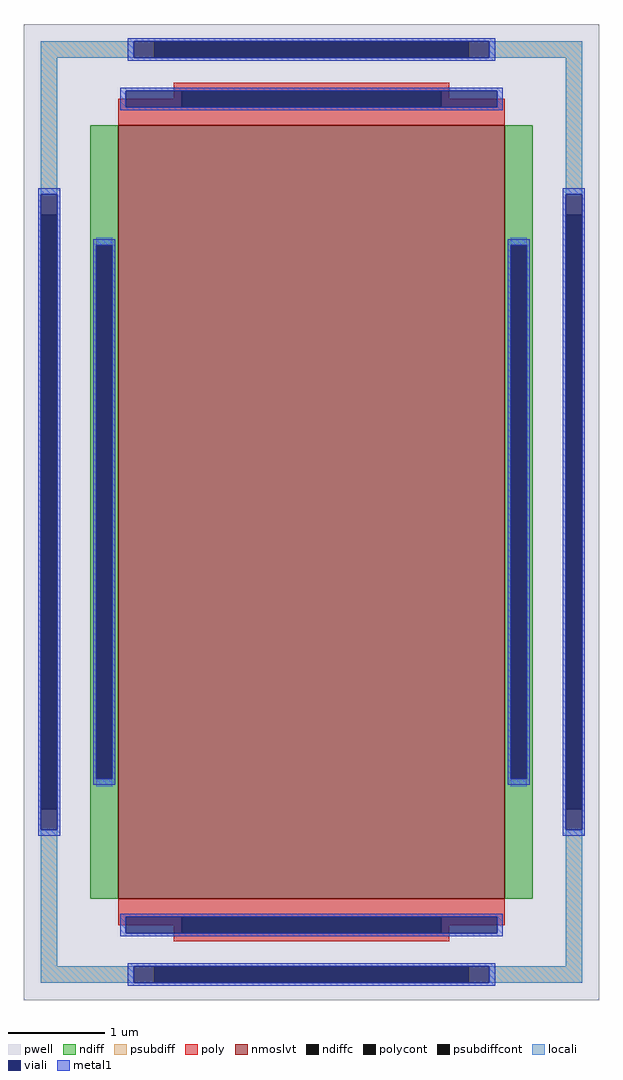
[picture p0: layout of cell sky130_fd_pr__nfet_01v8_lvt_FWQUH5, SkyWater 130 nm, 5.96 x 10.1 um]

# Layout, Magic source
magic
tech sky130A
magscale 1 2
<< pwell >>
rect -596 -1010 596 1010
<< nmoslvt >>
rect -400 -800 400 800
<< ndiff >>
rect -458 552 -400 800
rect -458 -552 -446 552
rect -412 -552 -400 552
rect -458 -800 -400 -552
rect 400 552 458 800
rect 400 -552 412 552
rect 446 -552 458 552
rect 400 -800 458 -552
<< ndiffc >>
rect -446 -552 -412 552
rect 412 -552 446 552
<< psubdiff >>
rect -560 940 -325 974
rect 325 940 560 974
rect -560 615 -526 940
rect -560 -940 -526 -615
rect 526 615 560 940
rect 526 -940 560 -615
rect -560 -974 -325 -940
rect 325 -974 560 -940
<< psubdiffcont >>
rect -325 940 325 974
rect -560 -615 -526 615
rect 526 -615 560 615
rect -325 -974 325 -940
<< poly >>
rect -285 872 285 888
rect -285 855 -269 872
rect -400 838 -269 855
rect 269 855 285 872
rect 269 838 400 855
rect -400 800 400 838
rect -400 -838 400 -800
rect -400 -855 -269 -838
rect -285 -872 -269 -855
rect 269 -855 400 -838
rect 269 -872 285 -855
rect -285 -888 285 -872
<< polycont >>
rect -269 838 269 872
rect -269 -872 269 -838
<< locali >>
rect -560 940 -368 974
rect 368 940 560 974
rect -560 658 -526 940
rect 526 658 560 940
rect -446 552 -412 568
rect -446 -568 -412 -552
rect 412 552 446 568
rect 412 -568 446 -552
rect -560 -940 -526 -658
rect 526 -940 560 -658
rect -560 -974 -368 -940
rect 368 -974 560 -940
<< viali >>
rect -368 940 -325 974
rect -325 940 325 974
rect 325 940 368 974
rect -384 838 -269 872
rect -269 838 269 872
rect 269 838 384 872
rect -560 615 -526 658
rect -560 -615 -526 615
rect 526 615 560 658
rect -446 -552 -412 552
rect 412 -552 446 552
rect -560 -658 -526 -615
rect 526 -615 560 615
rect 526 -658 560 -615
rect -384 -872 -269 -838
rect -269 -872 269 -838
rect 269 -872 384 -838
rect -368 -974 -325 -940
rect -325 -974 325 -940
rect 325 -974 368 -940
<< metal1 >>
rect -380 974 380 980
rect -380 940 -368 974
rect 368 940 380 974
rect -380 934 380 940
rect -396 872 396 878
rect -396 838 -384 872
rect 384 838 396 872
rect -396 832 396 838
rect -566 658 -520 670
rect -566 -658 -560 658
rect -526 -658 -520 658
rect 520 658 566 670
rect -452 552 -406 564
rect -452 -552 -446 552
rect -412 -552 -406 552
rect -452 -564 -406 -552
rect 406 552 452 564
rect 406 -552 412 552
rect 446 -552 452 552
rect 406 -564 452 -552
rect -566 -670 -520 -658
rect 520 -658 526 658
rect 560 -658 566 658
rect 520 -670 566 -658
rect -396 -838 396 -832
rect -396 -872 -384 -838
rect 384 -872 396 -838
rect -396 -878 396 -872
rect -380 -940 380 -934
rect -380 -974 -368 -940
rect 368 -974 380 -940
rect -380 -980 380 -974
<< properties >>
string FIXED_BBOX -543 -957 543 957
string gencell sky130_fd_pr__nfet_01v8_lvt
string library sky130
string parameters w 8.0 l 4.0 m 1 nf 1 diffcov 70 polycov 70 guard 1 glc 1 grc 1 gtc 1 gbc 1 tbcov 70 rlcov 70 topc 1 botc 1 poverlap 0 doverlap 1 lmin 0.15 wmin 0.42 compatible {sky130_fd_pr__nfet_01v8 sky130_fd_pr__nfet_01v8_lvt  sky130_fd_bs_flash__special_sonosfet_star  sky130_fd_pr__nfet_g5v0d10v5 sky130_fd_pr__nfet_05v0_nvt  sky130_fd_pr__nfet_03v3_nvt} full_metal 1 viasrc 70 viadrn 70 viagate 100 viagb 70 viagr 70 viagl 70 viagt 70
<< end >>
